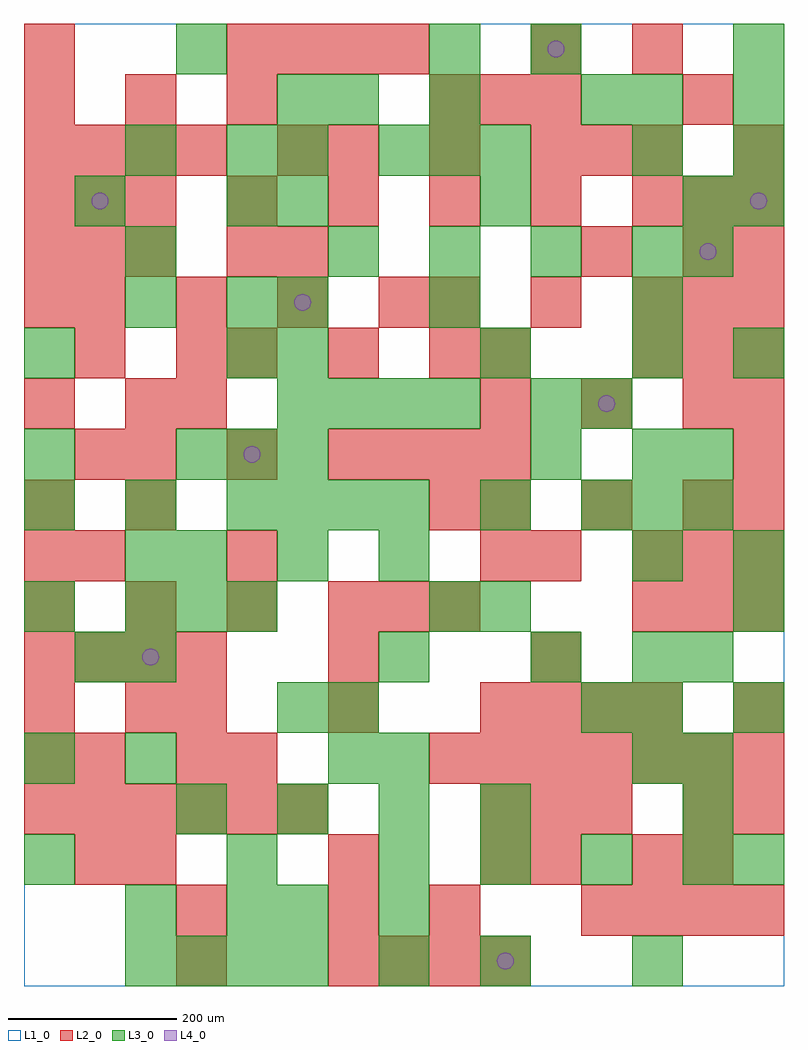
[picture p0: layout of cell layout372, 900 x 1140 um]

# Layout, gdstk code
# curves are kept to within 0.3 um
import gdstk
lib = gdstk.Library(unit=1e-6, precision=1e-09)
def R(c, l, rs):  # rectangles x0, y0, x1, y1
    for r in rs: c.add(gdstk.rectangle(r[:2], r[2:], *l))
def A(c, l, x, y, w, h, nx, ny, dx, dy):  # array of equal rectangles
    R(c, l, [(x+i*dx, y+j*dy, x+i*dx+w, y+j*dy+h) for i in range(nx) for j in range(ny)])
def P(c, l, *ps):  # polygons
    for p in ps: c.add(gdstk.Polygon(p, *l))
L1_0 = (1, 0)
L2_0 = (2, 0)
L3_0 = (3, 0)
L4_0 = (4, 0)

layout372 = lib.new_cell('layout372')
R(layout372, L1_0, [(0,0,900,1140)])
A(layout372, L2_0, 360, 0, 60, 60, 4, 1, 60, 0)
A(layout372, L2_0, 660, 60, 60, 60, 4, 1, 60, 0)
A(layout372, L2_0, 0, 180, 60, 60, 6, 1, 60, 0)
A(layout372, L2_0, 540, 180, 60, 60, 3, 1, 60, 0)
A(layout372, L2_0, 480, 240, 60, 60, 7, 1, 60, 0)
A(layout372, L2_0, 180, 300, 60, 60, 3, 1, 180, 0)
A(layout372, L2_0, 600, 300, 60, 60, 3, 1, 60, 0)
A(layout372, L2_0, 0, 360, 60, 60, 4, 2, 60, 600)
A(layout372, L2_0, 0, 420, 60, 60, 4, 1, 120, 0)
A(layout372, L2_0, 720, 420, 60, 60, 3, 2, 60, 60)
A(layout372, L2_0, 60, 480, 60, 60, 1, 3, 0, 120)
A(layout372, L2_0, 0, 540, 60, 60, 1, 3, 0, 120)
A(layout372, L2_0, 540, 540, 60, 60, 3, 2, 120, 120)
A(layout372, L2_0, 840, 540, 60, 60, 1, 3, 0, 60)
A(layout372, L2_0, 120, 600, 60, 60, 3, 1, 120, 0)
A(layout372, L2_0, 420, 600, 60, 60, 3, 1, 60, 0)
A(layout372, L2_0, 240, 720, 60, 60, 3, 1, 120, 0)
A(layout372, L2_0, 720, 720, 60, 60, 3, 1, 60, 0)
A(layout372, L2_0, 60, 780, 60, 60, 4, 1, 120, 0)
A(layout372, L2_0, 480, 780, 60, 60, 3, 1, 120, 0)
A(layout372, L2_0, 780, 780, 60, 60, 1, 3, 0, 60)
A(layout372, L2_0, 840, 780, 60, 60, 1, 4, 0, 60)
A(layout372, L2_0, 0, 840, 60, 60, 3, 2, 60, 60)
A(layout372, L2_0, 240, 900, 60, 60, 5, 1, 120, 0)
A(layout372, L2_0, 360, 960, 60, 60, 3, 1, 120, 0)
A(layout372, L2_0, 0, 1020, 60, 60, 3, 1, 120, 0)
A(layout372, L2_0, 480, 1020, 60, 60, 3, 1, 60, 0)
A(layout372, L2_0, 240, 1080, 60, 60, 4, 1, 60, 0)
R(layout372, L2_0, [(180,0,240,60), (180,60,240,120), (360,60,420,120), (480,60,540,120), (60,120,120,180), (120,120,180,180), (360,120,420,180), (540,120,600,180), (600,120,660,180), (720,120,780,180), (780,120,840,180), (780,180,840,240), (840,180,900,240), (0,240,60,300), (60,240,120,300), (180,240,240,300), (240,240,300,300), (0,300,60,360), (120,300,180,360), (840,300,900,360), (360,360,420,420), (600,360,660,420), (420,420,480,480), (480,420,540,480), (0,480,60,540), (240,480,300,540), (540,480,600,540), (600,480,660,540), (120,540,180,600), (480,540,540,600), (120,660,180,720), (180,660,240,720), (180,720,240,780), (540,720,600,780), (240,840,300,900), (300,840,360,900), (660,840,720,900), (300,960,360,1020), (660,960,720,1020), (720,960,780,1020), (780,1020,840,1080), (0,1080,60,1140), (600,1080,660,1140), (720,1080,780,1140)])
A(layout372, L3_0, 120, 0, 60, 60, 4, 1, 60, 0)
A(layout372, L3_0, 420, 120, 60, 60, 4, 1, 120, 0)
A(layout372, L3_0, 180, 180, 60, 60, 4, 1, 120, 0)
A(layout372, L3_0, 0, 240, 60, 60, 1, 3, 0, 180)
A(layout372, L3_0, 120, 240, 60, 60, 1, 3, 0, 120)
A(layout372, L3_0, 720, 240, 60, 60, 1, 3, 0, 60)
A(layout372, L3_0, 660, 300, 60, 60, 1, 3, 0, 360)
A(layout372, L3_0, 780, 360, 60, 60, 1, 3, 0, 240)
A(layout372, L3_0, 120, 420, 60, 60, 3, 1, 60, 0)
A(layout372, L3_0, 180, 480, 60, 60, 3, 1, 120, 0)
A(layout372, L3_0, 720, 480, 60, 60, 1, 3, 0, 120)
A(layout372, L3_0, 0, 540, 60, 60, 3, 1, 120, 0)
A(layout372, L3_0, 300, 540, 60, 60, 3, 1, 60, 0)
A(layout372, L3_0, 660, 540, 60, 60, 3, 1, 60, 0)
A(layout372, L3_0, 180, 600, 60, 60, 3, 1, 60, 0)
A(layout372, L3_0, 300, 660, 60, 60, 4, 1, 60, 0)
A(layout372, L3_0, 360, 840, 60, 60, 4, 1, 120, 0)
A(layout372, L3_0, 300, 900, 60, 60, 3, 1, 240, 0)
A(layout372, L3_0, 840, 900, 60, 60, 1, 4, 0, 60)
A(layout372, L3_0, 420, 960, 60, 60, 3, 1, 60, 0)
R(layout372, L3_0, [(420,0,480,60), (540,0,600,60), (720,0,780,60), (120,60,180,120), (240,60,300,120), (300,60,360,120), (420,60,480,120), (0,120,60,180), (240,120,300,180), (840,120,900,180), (780,180,840,240), (360,240,420,300), (420,240,480,300), (780,240,840,300), (300,300,360,360), (360,300,420,360), (840,300,900,360), (60,360,120,420), (420,360,480,420), (600,360,660,420), (480,420,540,480), (540,420,600,480), (840,420,900,480), (840,480,900,540), (540,540,600,600), (600,600,660,660), (600,660,660,720), (0,720,60,780), (240,720,300,780), (300,720,360,780), (540,720,600,780), (840,720,900,780), (120,780,180,840), (240,780,300,840), (300,780,360,840), (480,780,540,840), (720,780,780,840), (120,840,180,900), (60,900,120,960), (240,900,300,960), (120,960,180,1020), (240,960,300,1020), (300,960,360,1020), (720,960,780,1020), (300,1020,360,1080), (360,1020,420,1080), (480,1020,540,1080), (720,1020,780,1080), (180,1080,240,1140), (480,1080,540,1140), (600,1080,660,1140)])
P(layout372, L4_0, [(100,930),(99.239,933.827),(97.071,937.071),(93.827,939.239),(90,940),(86.173,939.239),(82.929,937.071),(80.761,933.827),(80,930),(80.761,926.173),(82.929,922.929),(86.173,920.761),(90,920),(93.827,920.761),(97.071,922.929),(99.239,926.173)],
  [(160,390),(159.239,393.827),(157.071,397.071),(153.827,399.239),(150,400),(146.173,399.239),(142.929,397.071),(140.761,393.827),(140,390),(140.761,386.173),(142.929,382.929),(146.173,380.761),(150,380),(153.827,380.761),(157.071,382.929),(159.239,386.173)],
  [(280,630),(279.239,633.827),(277.071,637.071),(273.827,639.239),(270,640),(266.173,639.239),(262.929,637.071),(260.761,633.827),(260,630),(260.761,626.173),(262.929,622.929),(266.173,620.761),(270,620),(273.827,620.761),(277.071,622.929),(279.239,626.173)],
  [(340,810),(339.239,813.827),(337.071,817.071),(333.827,819.239),(330,820),(326.173,819.239),(322.929,817.071),(320.761,813.827),(320,810),(320.761,806.173),(322.929,802.929),(326.173,800.761),(330,800),(333.827,800.761),(337.071,802.929),(339.239,806.173)],
  [(580,30),(579.239,33.827),(577.071,37.071),(573.827,39.239),(570,40),(566.173,39.239),(562.929,37.071),(560.761,33.827),(560,30),(560.761,26.173),(562.929,22.929),(566.173,20.761),(570,20),(573.827,20.761),(577.071,22.929),(579.239,26.173)],
  [(640,1110),(639.239,1113.827),(637.071,1117.071),(633.827,1119.239),(630,1120),(626.173,1119.239),(622.929,1117.071),(620.761,1113.827),(620,1110),(620.761,1106.173),(622.929,1102.929),(626.173,1100.761),(630,1100),(633.827,1100.761),(637.071,1102.929),(639.239,1106.173)],
  [(700,690),(699.239,693.827),(697.071,697.071),(693.827,699.239),(690,700),(686.173,699.239),(682.929,697.071),(680.761,693.827),(680,690),(680.761,686.173),(682.929,682.929),(686.173,680.761),(690,680),(693.827,680.761),(697.071,682.929),(699.239,686.173)],
  [(820,870),(819.239,873.827),(817.071,877.071),(813.827,879.239),(810,880),(806.173,879.239),(802.929,877.071),(800.761,873.827),(800,870),(800.761,866.173),(802.929,862.929),(806.173,860.761),(810,860),(813.827,860.761),(817.071,862.929),(819.239,866.173)],
  [(880,930),(879.239,933.827),(877.071,937.071),(873.827,939.239),(870,940),(866.173,939.239),(862.929,937.071),(860.761,933.827),(860,930),(860.761,926.173),(862.929,922.929),(866.173,920.761),(870,920),(873.827,920.761),(877.071,922.929),(879.239,926.173)])

lib.write_gds('layout372.gds')
